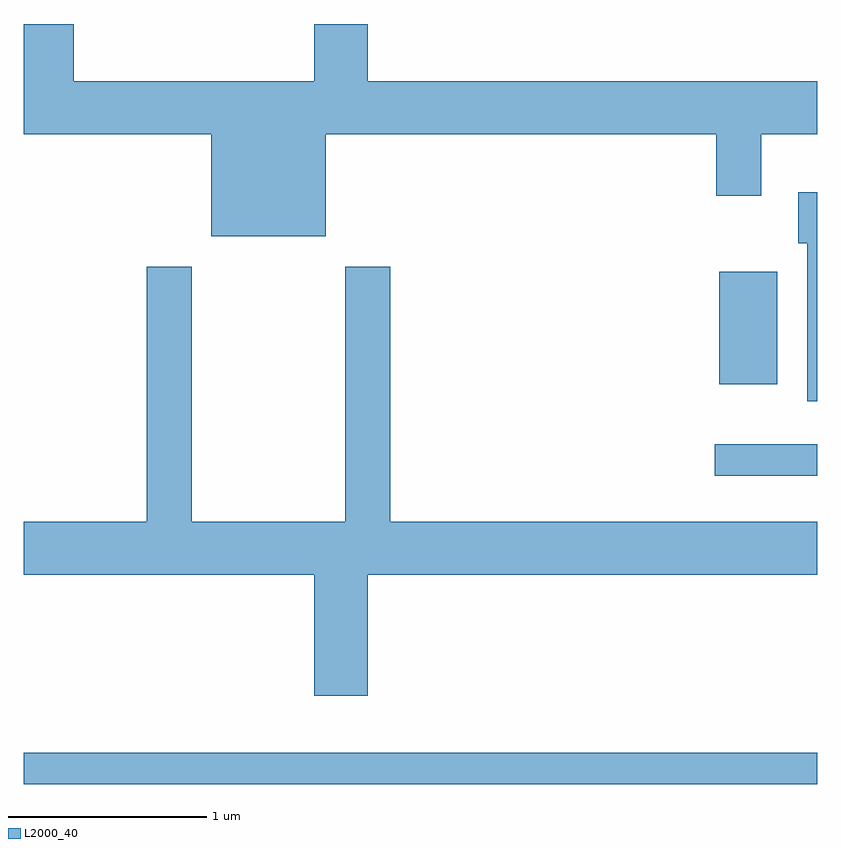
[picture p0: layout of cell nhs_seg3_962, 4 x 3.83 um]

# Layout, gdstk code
import gdstk
lib = gdstk.Library(unit=1e-6, precision=1e-09)
def R(c, l, rs):  # rectangles x0, y0, x1, y1
    for r in rs: c.add(gdstk.rectangle(r[:2], r[2:], *l))
def P(c, l, *ps):  # polygons
    for p in ps: c.add(gdstk.Polygon(p, *l))
L2000_40 = (2000, 40)

nhs_seg3_962 = lib.new_cell('nhs_seg3_962')
R(nhs_seg3_962, L2000_40, [(213.611,1136.061,217.611,1136.219), (217.093,1137.616,217.611,1137.774), (217.116,1138.076,217.409,1138.644)])
P(nhs_seg3_962, L2000_40, [(215.134,1139.336),(217.101,1139.336),(217.101,1139.026),(217.329,1139.026),(217.329,1139.336),(217.611,1139.336),(217.611,1139.604),(215.344,1139.604),(215.344,1139.892),(215.076,1139.892),(215.076,1139.604),(213.864,1139.604),(213.864,1139.892),(213.611,1139.892),(213.611,1139.336),(214.556,1139.336),(214.556,1138.821),(215.134,1138.821)],
  [(217.611,1139.044),(217.516,1139.044),(217.516,1138.786),(217.561,1138.786),(217.561,1137.991),(217.611,1137.991)],
  [(215.344,1137.116),(217.611,1137.116),(217.611,1137.384),(215.459,1137.384),(215.459,1138.669),(215.231,1138.669),(215.231,1137.384),(214.459,1137.384),(214.459,1138.669),(214.231,1138.669),(214.231,1137.384),(213.611,1137.384),(213.611,1137.116),(215.076,1137.116),(215.076,1136.506),(215.344,1136.506)])

lib.write_gds('nhs_seg3_962.gds')
